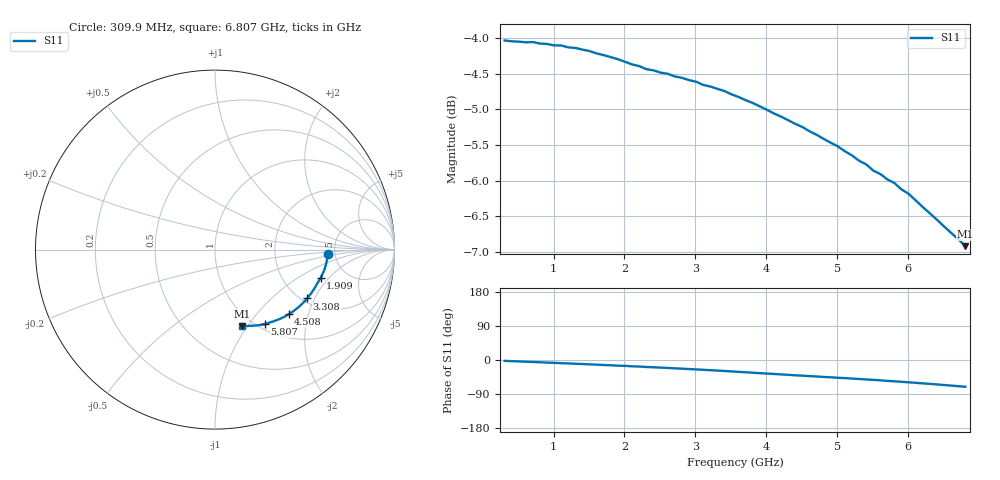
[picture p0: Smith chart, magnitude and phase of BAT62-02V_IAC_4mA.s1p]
! Infineon Technologies  Discrete & RF Semiconductors
! BAT62-02V
! IAC = 4 mA
! One-Port S-Parameters
# Hz  S  MA  R  50
!f  S11
!Hz  Mag  Ang
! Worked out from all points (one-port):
!   66 points, 309.9 MHz to 6.807 GHz, reference 50 ohm
!   lowest |S11| = -6.9 dB at 6.807 GHz (marker M1), VSWR 2.64, Z = 44.1 - j47 ohm
!   |S11| at or under -10 dB: nowhere
!   S11 on the Smith chart (normalised r, x): 309.9 MHz: 4.35, -0.37; 1.909 GHz: 3.24, -1.63; 3.308 GHz: 2.13, -1.75; 4.508 GHz: 1.47, -1.51; 5.807 GHz: 1.08, -1.19; 6.807 GHz: 0.88, -0.94
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3.0985e8  0.6284 -2.3
7.0965e8  0.6268 -5.2
1.10945e9  0.6233 -8.4
1.2094e9  0.6213 -9.0
1.30935e9  0.6208 -9.9
1.4093e9  0.6192 -10.6
1.50925e9  0.6177 -11.6
1.6092e9  0.6153 -12.2
1.70915e9  0.6136 -13.3
1.8091e9  0.6116 -13.9
1.90905e9  0.6096 -15.0
2.009e9  0.6071 -15.5
2.10895e9  0.6045 -16.7
2.2089e9  0.6029 -17.3
2.30885e9  0.5998 -18.5
2.4088e9  0.5988 -19.1
2.8086e9  0.5916 -22.8
3.30835e9  0.5812 -27.9
3.6082e9  0.5736 -31.3
3.90805e9  0.5649 -34.7
4.4078e9  0.5492 -40.4
4.50775e9  0.5464 -41.3
5.0075e9  0.5296 -46.9
5.2074e9  0.522 -49.0
5.8071e9  0.4991 -56.2
6.007e9  0.4905 -58.9
6.50675e9  0.4653 -66.0
6.8066e9  0.4508 -70.6
